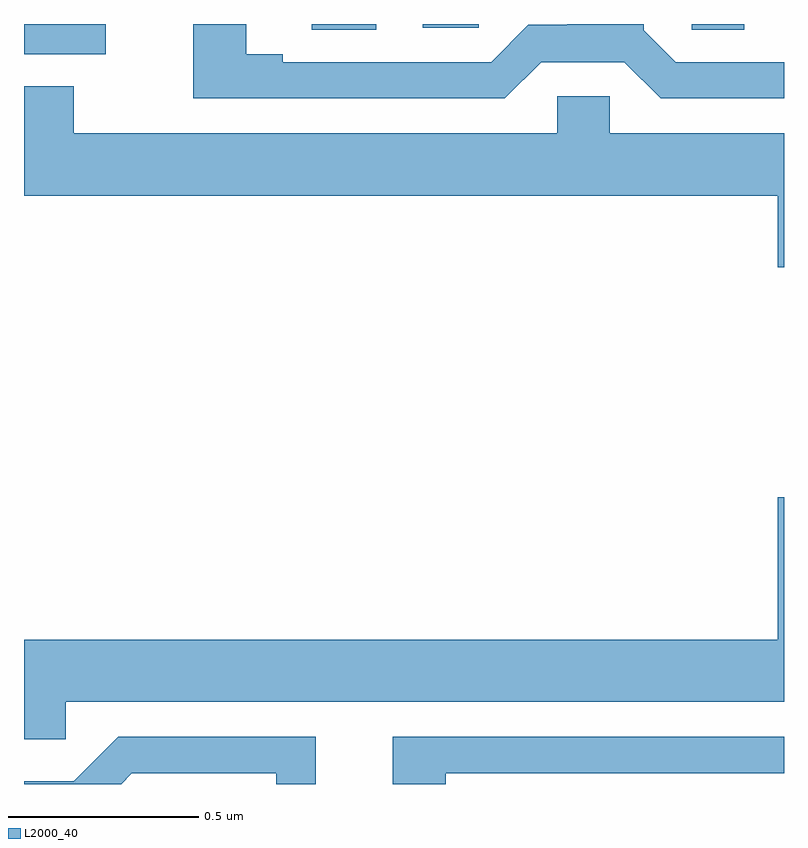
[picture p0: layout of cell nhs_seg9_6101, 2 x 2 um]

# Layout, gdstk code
import gdstk
lib = gdstk.Library(unit=1e-6, precision=1e-09)
def R(c, l, rs):  # rectangles x0, y0, x1, y1
    for r in rs: c.add(gdstk.rectangle(r[:2], r[2:], *l))
def P(c, l, *ps):  # polygons
    for p in ps: c.add(gdstk.Polygon(p, *l))
L2000_40 = (2000, 40)

nhs_seg9_6101 = lib.new_cell('nhs_seg9_6101')
R(nhs_seg9_6101, L2000_40, [(187,1235.421,187.215,1235.5), (187.757,1235.485,187.927,1235.5), (188.757,1235.485,188.896,1235.5), (188.049,1235.49,188.197,1235.5)])
P(nhs_seg9_6101, L2000_40, [(188.361,1235.4),(188.579,1235.4),(188.675,1235.304),(189,1235.304),(189,1235.4),(188.715,1235.4),(188.631,1235.484),(188.631,1235.5),(188.43,1235.5),(188.43,1235.498),(188.327,1235.498),(188.229,1235.4),(187.681,1235.4),(187.681,1235.42),(187.585,1235.42),(187.585,1235.5),(187.445,1235.5),(187.445,1235.304),(188.265,1235.304)],
  [(189,1235.212),(188.541,1235.212),(188.541,1235.31),(188.403,1235.31),(188.403,1235.212),(187.131,1235.212),(187.131,1235.336),(187,1235.336),(187,1235.048),(188.984,1235.048),(188.984,1234.86),(189,1234.86)],
  [(187.11,1233.716),(189,1233.716),(189,1234.255),(188.984,1234.255),(188.984,1233.88),(187,1233.88),(187,1233.618),(187.11,1233.618)],
  [(187.284,1233.528),(187.664,1233.528),(187.664,1233.5),(187.768,1233.5),(187.768,1233.624),(187.248,1233.624),(187.131,1233.507),(187,1233.507),(187,1233.5),(187.256,1233.5)],
  [(188.11,1233.528),(189,1233.528),(189,1233.624),(187.97,1233.624),(187.97,1233.5),(188.11,1233.5)])

lib.write_gds('nhs_seg9_6101.gds')
